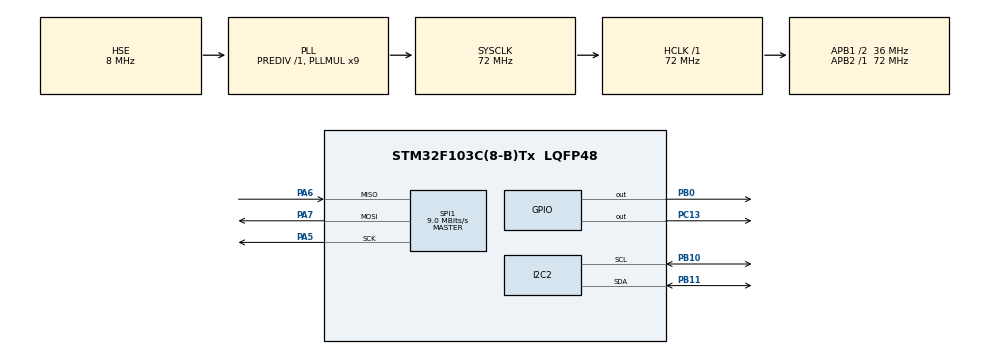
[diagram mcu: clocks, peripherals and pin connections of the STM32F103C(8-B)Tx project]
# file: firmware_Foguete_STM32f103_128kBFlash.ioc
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FATFS._USE_LFN=1
I2C2.I2C_Mode=I2C_Fast
Mcu.Family=STM32F1
Mcu.Name=STM32F103C(8-B)Tx
Mcu.Package=LQFP48
NVIC.PriorityGroup=NVIC_PRIORITYGROUP_4
PA13.Mode=Serial_Wire
PA13.Signal=SYS_JTMS-SWDIO
PA14.Mode=Serial_Wire
PA14.Signal=SYS_JTCK-SWCLK
PA5.Mode=Full_Duplex_Master
PA5.Signal=SPI1_SCK
PA6.Mode=Full_Duplex_Master
PA6.Signal=SPI1_MISO
PA7.Mode=Full_Duplex_Master
PA7.Signal=SPI1_MOSI
PB0.Signal=GPIO_Output
PB10.Mode=I2C
PB10.Signal=I2C2_SCL
PB11.Mode=I2C
PB11.Signal=I2C2_SDA
PC13-TAMPER-RTC.Signal=GPIO_Output
PD0-OSC_IN.Mode=HSE-External-Oscillator
PD0-OSC_IN.Signal=RCC_OSC_IN
PD1-OSC_OUT.Mode=HSE-External-Oscillator
PD1-OSC_OUT.Signal=RCC_OSC_OUT
ProjectManager.HeapSize=0x200
ProjectManager.StackSize=0x400
ProjectManager.TargetToolchain=STM32CubeIDE
RCC.AHBFreq_Value=72000000
RCC.APB1CLKDivider=RCC_HCLK_DIV2
RCC.APB1Freq_Value=36000000
RCC.APB1TimFreq_Value=72000000
RCC.APB2Freq_Value=72000000
RCC.APB2TimFreq_Value=72000000
RCC.HCLKFreq_Value=72000000
RCC.PLLMUL=RCC_PLL_MUL9
RCC.PLLSourceVirtual=RCC_PLLSOURCE_HSE
RCC.SYSCLKFreq_VALUE=72000000
RCC.SYSCLKSource=RCC_SYSCLKSOURCE_PLLCLK
RCC.USBFreq_Value=72000000
SPI1.BaudRatePrescaler=SPI_BAUDRATEPRESCALER_8
SPI1.CalculateBaudRate=9.0 MBits/s
SPI1.Direction=SPI_DIRECTION_2LINES
SPI1.Mode=SPI_MODE_MASTER
SPI1.VirtualType=VM_MASTER
VP_FATFS_VS_Generic.Mode=User_defined
board=custom

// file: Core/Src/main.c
/* USER CODE BEGIN Header */
/**
  ******************************************************************************
  * @file           : main.c
  * @brief          : Main program body
  ******************************************************************************
  * @attention
  *
  * Copyright (c) 2022 STMicroelectronics.
  * All rights reserved.
  *
  * This software is licensed under terms that can be found in the LICENSE file
  * in the root directory of this software component.
  * If no LICENSE file comes with this software, it is provided AS-IS.
  *
  ******************************************************************************
  */
/* USER CODE END Header */
#include "main.h"
#include "fatfs.h"
#include "i2c.h"
#include "spi.h"
#include "gpio.h"

/* USER CODE BEGIN Includes */
#include "bno055_stm32.h"

#include "fatfs_sd.h"

#include "string.h"
/* USER CODE END Includes */

void SystemClock_Config(void);

/* USER CODE BEGIN 0 */

FATFS fs;          // file System
FIL fil;           // file
FRESULT fresult;   // to store the result
UINT br, bw ;      // file read/write count

char buffer[1024];  //to store data

/* USER CODE END 0 */

int main(void)
{

  /* MCU Configuration--------------------------------------------------------*/

  /* Reset of all peripherals, Initializes the Flash interface and the Systick. */
  HAL_Init();

  /* Configure the system clock */
  SystemClock_Config();

  /* Initialize all configured peripherals */
  MX_GPIO_Init();
  MX_SPI1_Init();
  MX_FATFS_Init();
  MX_I2C2_Init();
  /* USER CODE BEGIN 2 */

  //********************************    Inicio    ********************************

    float heading, roll, pitch;
    bno055_vector_t Accelerometer, Magnetometer, Gyroscope, VectorEuler, LinearAccel, Gravity, Quaternion;
    int count = 0;

    bno055_assignI2C(&hi2c2);
    bno055_setup();
    bno055_setOperationModeNDOF();

    /* Mount SD Card */
    fresult = f_mount(&fs,"",0);

    if (fresult != FR_OK) // Error in mounting SD CARD...
    {
        for(count = 0; count < 20; count++)
        {
        	HAL_GPIO_WritePin(GPIOC, GPIO_PIN_13, 1); // desliga
            HAL_Delay(100);
            HAL_GPIO_WritePin(GPIOC, GPIO_PIN_13, 0); // liga
            HAL_Delay(100);
        }

    }
    else{             // Ok in  mounting SD CARD...
        for(count = 0; count < 40; count++)
        {
            HAL_GPIO_WritePin(GPIOC, GPIO_PIN_13, 0); // liga
            HAL_Delay(50);
            HAL_GPIO_WritePin(GPIOC, GPIO_PIN_13, 1); // desliga
            HAL_Delay(50);
        }

    }

    sprintf(buffer," Heading (degrees), Roll (degrees), Pitch (degrees),"
    		  " Quaternion W, Quaternion X, Quaternion Y, Quaternion Z,"
    		  " Accelerometer W (m/s²), Accelerometer X (m/s²), Accelerometer Y (m/s²), Accelerometer Z (m/s²),"
    		  " Magnetometer W (uT) , Magnetometer X (uT) , Magnetometer Y (uT) , Magnetometer Z (uT),"
    		  " Gyroscope W (rad/s), Gyroscope X (rad/s), Gyroscope Y (rad/s), Gyroscope Z (rad/s),"
    		  " LinearAccel W (m/s²), LinearAccel X (m/s²), LinearAccel Y (m/s²), LinearAccel Z (m/s²),"
    		  " Gravity W (m/s²), Gravity X (m/s²), Gravity Y (m/s²), Gravity Z (m/s²) \r\n\n");

    /* Open file to write/ create a file if it doesn't exist  */
    fresult = f_open(&fil, "Dados_Foguete.txt", FA_OPEN_ALWAYS | FA_READ | FA_WRITE);
    fresult = f_puts(" Eng Adolfo\n",&fil);
    fresult = f_puts(buffer,&fil);

//    fresult = f_close(&fil);

  /* USER CODE END 2 */

  /* Infinite loop */
  while (1)
  {

    /* USER CODE BEGIN 3 */
	  /************ Sensor BNO055  *******************
	  	      VECTOR_ACCELEROMETER   Default: m/s²
	    	  	  VECTOR_MAGNETOMETER    Default: uT
	    	  	  VECTOR_GYROSCOPE       Default: rad/s
	    	  	  VECTOR_EULER           Default: degrees
	    	  	  VECTOR_QUATERNION      No units
	    	  	  VECTOR_LINEARACCEL     Default: m/s²
	    	  	  VECTOR_GRAVITY         Default: m/s²
	  	   */
	  	  //CDC_Transmit_FS(cabecalho, strlen(cabecalho));

	  	//  HAL_Delay(100);
  	  //    HAL_GPIO_WritePin(GPIOC, GPIO_PIN_13, 1); // desliga

	  	  HAL_Delay(1000);

	  //	  CDC_Transmit_FS(buffer, strlen(buffer));

	  	for(count = 0; count < 40; count++){
	  		  VectorEuler	    = bno055_getVectorEuler();
	  		  	  Quaternion	    = bno055_getVectorQuaternion();
	  		  	  Accelerometer     = bno055_getVectorAccelerometer();
	  		  	  Magnetometer      = bno055_getVectorMagnetometer();
	  		  	  Gyroscope		    = bno055_getVectorGyroscope();
	  		  	  LinearAccel       = bno055_getVectorLinearAccel();
	  		  	  Gravity	        = bno055_getVectorGravity();
	  		  	  heading = VectorEuler.x;
	  		  	  roll    = VectorEuler.y;
	  		  	  pitch   = VectorEuler.z;

	  		  	  sprintf(buffer,"%.5f, %.5f, %.5f,"
	  		  			  " %.5f, %.5f, %.5f, %.5f,"
	  		  			  " %.5f, %.5f, %.5f, %.5f,"
	  		  			  " %.5f, %.5f, %.5f, %.5f,"
	  		  			  " %.5f, %.5f, %.5f, %.5f,"
	  		  			  " %.5f, %.5f, %.5f, %.5f,"
	  		  			  " %.5f, %.5f, %.5f, %.5f,"
	  		  			  "\r\n",
	  		  			  heading, roll, pitch,
	  		  			  Quaternion.w     , Quaternion.x     , Quaternion.y     , Quaternion.z     ,
	  		  			  Accelerometer.w  , Accelerometer.x  , Accelerometer.y  , Accelerometer.z  ,
	  		  			  Magnetometer.w   , Magnetometer.x   , Magnetometer.y   , Magnetometer.z   ,
	  		  			  Gyroscope.w      , Gyroscope.x      , Gyroscope.y      , Gyroscope.z      ,
	  		  			  LinearAccel.w    , LinearAccel.x    , LinearAccel.y    , LinearAccel.z    ,
	  		  			  Gravity.w        , Gravity.x        , Gravity.y        , Gravity.z);

	  		  	 //  bno055 = 27 variaveis * 4 bytes = 108 Bytes
			      HAL_Delay(100);
			      fresult = f_puts(buffer,&fil);

	  	  }

	    fresult = f_close(&fil);

	  	while(1)
	  	{
		  	  HAL_GPIO_WritePin(GPIOC, GPIO_PIN_13, 1); // desliga
		      HAL_Delay(100);
		      HAL_GPIO_WritePin(GPIOC, GPIO_PIN_13, 0); // liga
		      HAL_Delay(100);
	  	}

  }
  /* USER CODE END 3 */
}

void SystemClock_Config(void)
{
  RCC_OscInitTypeDef RCC_OscInitStruct = {0};
  RCC_ClkInitTypeDef RCC_ClkInitStruct = {0};

  /** Initializes the RCC Oscillators according to the specified parameters
  * in the RCC_OscInitTypeDef structure.
  */
  RCC_OscInitStruct.OscillatorType = RCC_OSCILLATORTYPE_HSE;
  RCC_OscInitStruct.HSEState = RCC_HSE_ON;
  RCC_OscInitStruct.HSEPredivValue = RCC_HSE_PREDIV_DIV1;
  RCC_OscInitStruct.HSIState = RCC_HSI_ON;
  RCC_OscInitStruct.PLL.PLLState = RCC_PLL_ON;
  RCC_OscInitStruct.PLL.PLLSource = RCC_PLLSOURCE_HSE;
  RCC_OscInitStruct.PLL.PLLMUL = RCC_PLL_MUL9;
  if (HAL_RCC_OscConfig(&RCC_OscInitStruct) != HAL_OK)
  {
    Error_Handler();
  }

  /** Initializes the CPU, AHB and APB buses clocks
  */
  RCC_ClkInitStruct.ClockType = RCC_CLOCKTYPE_HCLK|RCC_CLOCKTYPE_SYSCLK
                              |RCC_CLOCKTYPE_PCLK1|RCC_CLOCKTYPE_PCLK2;
  RCC_ClkInitStruct.SYSCLKSource = RCC_SYSCLKSOURCE_PLLCLK;
  RCC_ClkInitStruct.AHBCLKDivider = RCC_SYSCLK_DIV1;
  RCC_ClkInitStruct.APB1CLKDivider = RCC_HCLK_DIV2;
  RCC_ClkInitStruct.APB2CLKDivider = RCC_HCLK_DIV1;

  if (HAL_RCC_ClockConfig(&RCC_ClkInitStruct, FLASH_LATENCY_2) != HAL_OK)
  {
    Error_Handler();
  }
}

void Error_Handler(void)
{
  __disable_irq();
  while (1)
  {
  }
}
